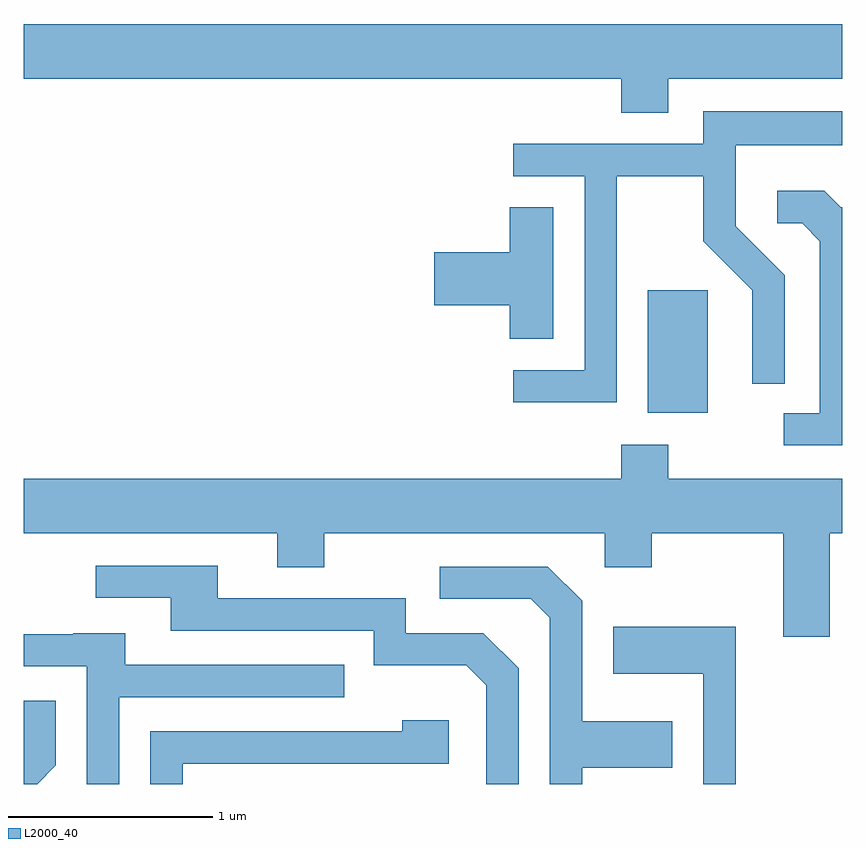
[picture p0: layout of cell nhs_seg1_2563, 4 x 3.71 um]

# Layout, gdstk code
import gdstk
lib = gdstk.Library(unit=1e-6, precision=1e-09)
def R(c, l, rs):  # rectangles x0, y0, x1, y1
    for r in rs: c.add(gdstk.rectangle(r[:2], r[2:], *l))
def P(c, l, *ps):  # polygons
    for p in ps: c.add(gdstk.Polygon(p, *l))
L2000_40 = (2000, 40)

nhs_seg1_2563 = lib.new_cell('nhs_seg1_2563')
R(nhs_seg1_2563, L2000_40, [(266.661,873.526,266.954,874.124)])
P(nhs_seg1_2563, L2000_40, [(266.759,875.156),(267.611,875.156),(267.611,875.424),(263.611,875.424),(263.611,875.156),(266.531,875.156),(266.531,874.991),(266.759,874.991)],
  [(266.509,874.681),(266.931,874.681),(266.931,874.364),(267.171,874.124),(267.171,873.668),(267.329,873.668),(267.329,874.197),(267.089,874.437),(267.089,874.831),(267.611,874.831),(267.611,874.999),(266.931,874.999),(266.931,874.839),(266.003,874.839),(266.003,874.681),(266.351,874.681),(266.351,873.734),(266.003,873.734),(266.003,873.576),(266.509,873.576)],
  [(267.611,874.529),(267.602,874.529),(267.522,874.609),(267.293,874.609),(267.293,874.451),(267.414,874.451),(267.501,874.364),(267.501,873.524),(267.323,873.524),(267.323,873.366),(267.611,873.366)],
  [(266.199,874.529),(265.986,874.529),(265.986,874.309),(265.616,874.309),(265.616,874.051),(265.986,874.051),(265.986,873.886),(266.199,873.886)],
  [(267.549,872.936),(267.611,872.936),(267.611,873.204),(266.759,873.204),(266.759,873.369),(266.531,873.369),(266.531,873.204),(263.611,873.204),(263.611,872.936),(264.851,872.936),(264.851,872.771),(265.079,872.771),(265.079,872.936),(266.451,872.936),(266.451,872.771),(266.679,872.771),(266.679,872.936),(267.321,872.936),(267.321,872.431),(267.549,872.431)],
  [(266.029,872.277),(265.857,872.449),(265.479,872.449),(265.479,872.619),(264.559,872.619),(264.559,872.779),(263.963,872.779),(263.963,872.621),(264.331,872.621),(264.331,872.461),(265.321,872.461),(265.321,872.291),(265.774,872.291),(265.871,872.194),(265.871,871.712),(266.029,871.712)],
  [(266.339,871.791),(266.779,871.791),(266.779,872.019),(266.339,872.019),(266.339,872.607),(266.172,872.774),(265.643,872.774),(265.643,872.616),(266.089,872.616),(266.181,872.524),(266.181,871.712),(266.339,871.712)],
  [(267.089,872.479),(266.491,872.479),(266.491,872.251),(266.931,872.251),(266.931,871.712),(267.089,871.712)],
  [(264.079,872.136),(265.178,872.136),(265.178,872.294),(264.109,872.294),(264.109,872.449),(263.855,872.449),(263.855,872.444),(263.611,872.444),(263.611,872.286),(263.921,872.286),(263.921,871.712),(264.079,871.712)],
  [(263.769,871.804),(263.769,872.118),(263.611,872.118),(263.611,871.712),(263.677,871.712)],
  [(264.389,871.811),(265.689,871.811),(265.689,872.024),(265.461,872.024),(265.461,871.969),(264.231,871.969),(264.231,871.712),(264.389,871.712)])

lib.write_gds('nhs_seg1_2563.gds')
